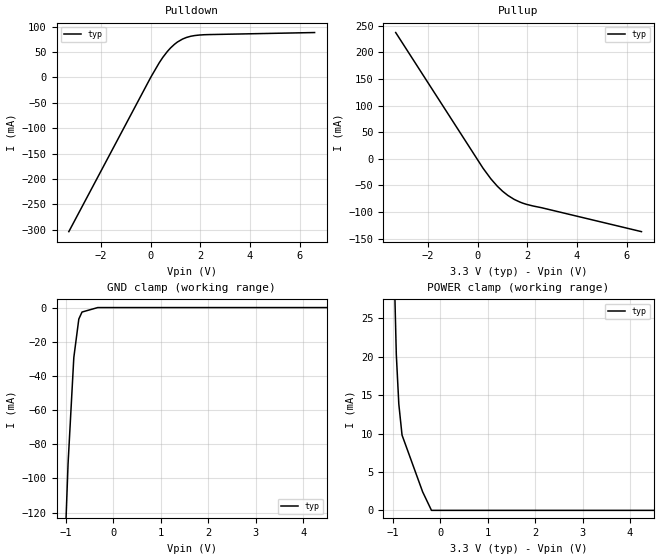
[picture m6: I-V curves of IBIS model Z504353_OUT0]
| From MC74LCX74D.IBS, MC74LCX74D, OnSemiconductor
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| (C) COPYRIGHT 1993-2000
| MENTOR GRAPHICS CORPORATION
| ICX STANDARD LIBRARY, ICX PROJECT MODELING,
| ICX CUSTOM MODELING, ICX VENDOR MODEL
| ALL RIGHTS RESERVED.
| THE FOLLOWING ARE TRADEMARKS OR SERVICE MARKS OF
| MENTOR GRAPHICS CORPORATION:ICX (R), ICX STANDARD
| LIBRARY(R), ICX PROJECT MODELING(R), ICX CUSTOM
| MODELING(R), qualityIBIS(TM), MODELVIEWER(TM),
| AND MODELEDITOR(TM)
| ALL COPIES OF SOFTWARE, INCLUDING BUT NOT LIMITED TO
| ANY MODIFICATIONS, ENHANCEMENTS OR DERIVATIVE WORKS,
| MUST CONTAIN ALL MENTOR GRAPHICS CORPORATION'S
| NOTICES AND LEGENDS, INCLUDING THOSE EMBEDDED IN
| SOFTWARE AND THOSE AFFIXED TO SOFTWARE MEDIUM
| AND CONTAINER, AS RECEIVED FROM MENTOR GRAPHICS
| CORPORATION.
| Model Application Version 1.89 2/18/99.
[Model] Z504353_OUT0
Model_type Output
Vref=0.000V
Rref=500.0ohms
Cref=50.00pF
Vmeas=1.500V
C_comp 8.000pF NA NA
| variable typ   min   max
[Voltage Range] 3.300V NA NA
[POWER Clamp Reference] 3.300V NA NA
[Pullup Reference] 3.300V NA NA
[Pulldown Reference] 0.000V NA NA
[GND Clamp Reference] 0.000V NA NA
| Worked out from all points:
|   slope of the pulldown table from 0 to 0.495 V, typ, clamps not added: 12.4 ohm
|   slope of the pullup table from 0 to 0.495 V, typ, clamps not added: 14.9 ohm
|   POWER clamp passes 1 mA (typ) near -0.26 V on its own axis
[GND Clamp]
-3.3V     -1.855A    NA         NA
-956.6mV  -91.3mA    NA         NA
-835.5mV  -29.25mA   NA         NA
-730.2mV  -6.722mA   NA         NA
-662.5mV  -2.615mA   NA         NA
-331.3mV  0A         NA         NA
6.6V      0A         NA         NA
[Pulldown]
-3.3V     -303.6mA   NA         NA
6.752mV   897uA      NA         NA
482.9mV   39.37mA    NA         NA
669.6mV   51.25mA    NA         NA
956.4mV   65.36mA    NA         NA
1.281V    75.69mA    NA         NA
1.438V    78.82mA    NA         NA
1.973V    83.69mA    NA         NA
6.6V      88.53mA    NA         NA
[Pullup]
-3.3V     237.1mA    NA         NA
218mV     -17.74mA   NA         NA
536mV     -37.85mA   NA         NA
1.009V    -61.18mA   NA         NA
1.475V    -76.38mA   NA         NA
1.962V    -85.54mA   NA         NA
6.6V      -136.9mA   NA         NA
[POWER Clamp]
-3.3V     611.2mA    NA         NA
-928mV    20.32mA    NA         NA
-875mV    13.84mA    NA         NA
-807mV    9.804mA    NA         NA
-373mV    2.415mA    NA         NA
-186.5mV  0A         NA         NA
6.6V      0A         NA         NA
[Ramp]
| variable typ min max
dV/dt_r 1.944/253.2p NA NA
dV/dt_f 1.944/226.5p NA NA
R_load = 500.0Ohms
